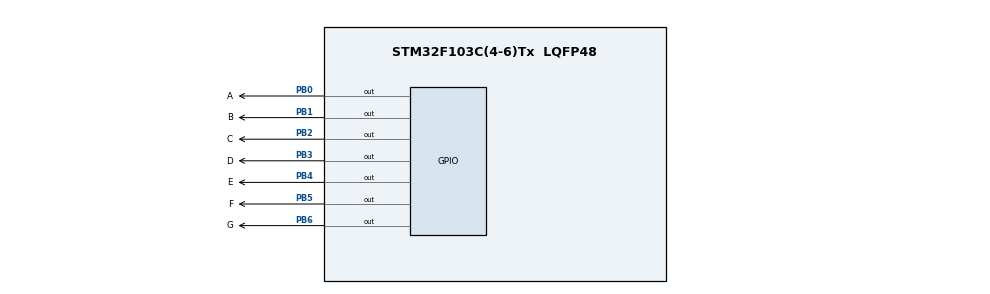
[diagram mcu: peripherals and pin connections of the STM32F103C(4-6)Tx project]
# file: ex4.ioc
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Mcu.Family=STM32F1
Mcu.Name=STM32F103C(4-6)Tx
Mcu.Package=LQFP48
NVIC.PriorityGroup=NVIC_PRIORITYGROUP_4
PB0.GPIO_Label=A
PB0.Signal=GPIO_Output
PB1.GPIO_Label=B
PB1.Signal=GPIO_Output
PB2.GPIO_Label=C
PB2.Signal=GPIO_Output
PB3.GPIO_Label=D
PB3.Signal=GPIO_Output
PB4.GPIO_Label=E
PB4.Signal=GPIO_Output
PB5.GPIO_Label=F
PB5.Signal=GPIO_Output
PB6.GPIO_Label=G
PB6.Signal=GPIO_Output
ProjectManager.HeapSize=0x200
ProjectManager.StackSize=0x400
ProjectManager.TargetToolchain=STM32CubeIDE
RCC.APB1Freq_Value=8000000
RCC.APB2Freq_Value=8000000
VP_SYS_VS_ND.Mode=No_Debug
board=custom

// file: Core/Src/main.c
/* USER CODE BEGIN Header */
/**
  ******************************************************************************
  * @file           : main.c
  * @brief          : Main program body
  ******************************************************************************
  * @attention
  *
  * <h2><center>&copy; Copyright (c) 2024 STMicroelectronics.
  * All rights reserved.</center></h2>
  *
  * This software component is licensed by ST under BSD 3-Clause license,
  * the "License"; You may not use this file except in compliance with the
  * License. You may obtain a copy of the License at:
  *                        opensource.org/licenses/BSD-3-Clause
  *
  ******************************************************************************
  */
/* USER CODE END Header */
#include "main.h"

void SystemClock_Config(void);
static void MX_GPIO_Init(void);

/* USER CODE BEGIN 0 */

uint8_t segmentNumber[10] = {
    0x40, //0
    0x79, //1
    0x24, //2
    0x30, //3
    0x19, //4
    0x12, //5
    0x02, //6
    0x78, //7
    0x00, //8
    0x10  //9
};

void display7Segment(uint8_t number);

/* USER CODE END 0 */

int main(void)
{

  /* MCU Configuration--------------------------------------------------------*/

  /* Reset of all peripherals, Initializes the Flash interface and the Systick. */
  HAL_Init();

  /* Configure the system clock */
  SystemClock_Config();

  /* Initialize all configured peripherals */
  MX_GPIO_Init();

  /* Infinite loop */
  /* USER CODE BEGIN WHILE */
  int number = 0;
  while (1)
  {
	display7Segment(segmentNumber[number]);
	number = (number + 1) % 10;
	HAL_Delay(1000);
    /* USER CODE END WHILE */

  }
}

void SystemClock_Config(void)
{
  RCC_OscInitTypeDef RCC_OscInitStruct = {0};
  RCC_ClkInitTypeDef RCC_ClkInitStruct = {0};

  /** Initializes the RCC Oscillators according to the specified parameters
  * in the RCC_OscInitTypeDef structure.
  */
  RCC_OscInitStruct.OscillatorType = RCC_OSCILLATORTYPE_HSI;
  RCC_OscInitStruct.HSIState = RCC_HSI_ON;
  RCC_OscInitStruct.HSICalibrationValue = RCC_HSICALIBRATION_DEFAULT;
  RCC_OscInitStruct.PLL.PLLState = RCC_PLL_NONE;
  if (HAL_RCC_OscConfig(&RCC_OscInitStruct) != HAL_OK)
  {
    Error_Handler();
  }
  /** Initializes the CPU, AHB and APB buses clocks
  */
  RCC_ClkInitStruct.ClockType = RCC_CLOCKTYPE_HCLK|RCC_CLOCKTYPE_SYSCLK
                              |RCC_CLOCKTYPE_PCLK1|RCC_CLOCKTYPE_PCLK2;
  RCC_ClkInitStruct.SYSCLKSource = RCC_SYSCLKSOURCE_HSI;
  RCC_ClkInitStruct.AHBCLKDivider = RCC_SYSCLK_DIV1;
  RCC_ClkInitStruct.APB1CLKDivider = RCC_HCLK_DIV1;
  RCC_ClkInitStruct.APB2CLKDivider = RCC_HCLK_DIV1;

  if (HAL_RCC_ClockConfig(&RCC_ClkInitStruct, FLASH_LATENCY_0) != HAL_OK)
  {
    Error_Handler();
  }
}

static void MX_GPIO_Init(void)
{
  GPIO_InitTypeDef GPIO_InitStruct = {0};

  /* GPIO Ports Clock Enable */
  __HAL_RCC_GPIOB_CLK_ENABLE();

  /*Configure GPIO pin Output Level */
  HAL_GPIO_WritePin(GPIOB, A_Pin|B_Pin|C_Pin|D_Pin
                          |E_Pin|F_Pin|G_Pin, GPIO_PIN_RESET);

  /*Configure GPIO pins : A_Pin B_Pin C_Pin D_Pin
                           E_Pin F_Pin G_Pin */
  GPIO_InitStruct.Pin = A_Pin|B_Pin|C_Pin|D_Pin
                          |E_Pin|F_Pin|G_Pin;
  GPIO_InitStruct.Mode = GPIO_MODE_OUTPUT_PP;
  GPIO_InitStruct.Pull = GPIO_NOPULL;
  GPIO_InitStruct.Speed = GPIO_SPEED_FREQ_LOW;
  HAL_GPIO_Init(GPIOB, &GPIO_InitStruct);

}

/* USER CODE BEGIN 4 */

display7Segment(uint8_t number) {
    HAL_GPIO_WritePin(A_GPIO_Port, A_Pin, ((number >> 0) & 0x01));
    HAL_GPIO_WritePin(B_GPIO_Port, B_Pin, ((number >> 1) & 0x01));
    HAL_GPIO_WritePin(C_GPIO_Port, C_Pin, ((number >> 2) & 0x01));
    HAL_GPIO_WritePin(D_GPIO_Port, D_Pin, ((number >> 3) & 0x01));
    HAL_GPIO_WritePin(E_GPIO_Port, E_Pin, ((number >> 4) & 0x01));
    HAL_GPIO_WritePin(F_GPIO_Port, F_Pin, ((number >> 5) & 0x01));
    HAL_GPIO_WritePin(G_GPIO_Port, G_Pin, ((number >> 6) & 0x01));
}

/* USER CODE END 4 */

void Error_Handler(void)
{
  __disable_irq();
  while (1)
  {
  }
}

/************************ (C) COPYRIGHT STMicroelectronics *****END OF FILE****/
